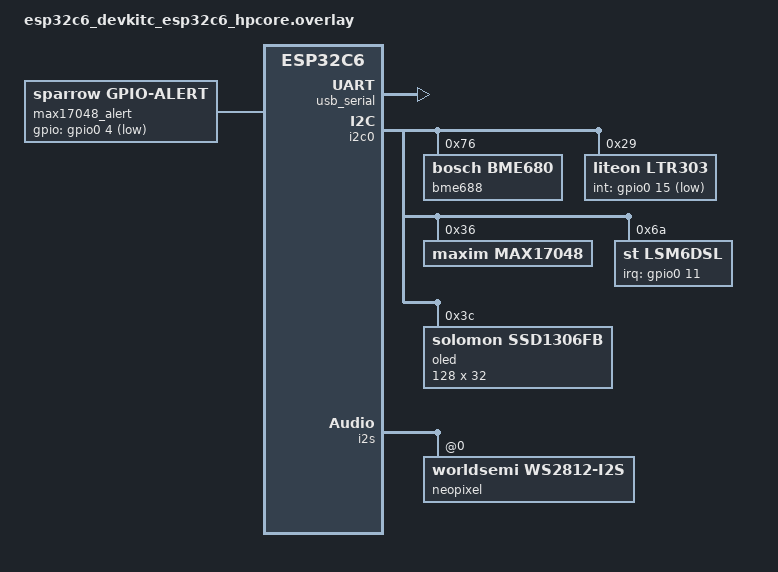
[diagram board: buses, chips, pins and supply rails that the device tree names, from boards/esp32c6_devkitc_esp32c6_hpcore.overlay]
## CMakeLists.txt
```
cmake_minimum_required(VERSION 3.20.0)

find_package(Zephyr REQUIRED HINTS $ENV{ZEPHYR_BASE})
project(sparrow_littlefs)

target_sources(app PRIVATE src/main.c src/cfb_font_0508.c src/startup.c src/oled.c src/fs_utils.c src/http_server.c src/net_time.c src/sensors.c src/neopixel.c src/boot.c src/i2c_scan.c)

file(GLOB_RECURSE WEB_ASSETS CONFIGURE_DEPENDS ${CMAKE_CURRENT_LIST_DIR}/web/*)
file(GLOB_RECURSE LFS_ROOT_ASSETS CONFIGURE_DEPENDS ${CMAKE_CURRENT_LIST_DIR}/lfs/*)

set(LFS_IMAGE ${CMAKE_BINARY_DIR}/littlefs.img)
add_custom_command(
  OUTPUT ${LFS_IMAGE}
  COMMAND ${PYTHON_EXECUTABLE} ${CMAKE_CURRENT_LIST_DIR}/scripts/make_littlefs_image.py
          --build-dir ${CMAKE_BINARY_DIR}
          --web-dir ${CMAKE_CURRENT_LIST_DIR}/web
          --output ${LFS_IMAGE}
  DEPENDS ${WEB_ASSETS} ${LFS_ROOT_ASSETS}
          ${CMAKE_CURRENT_LIST_DIR}/scripts/make_littlefs_image.py
  COMMENT "Building LittleFS image from web assets"
  VERBATIM
)
add_custom_target(littlefs_image DEPENDS ${LFS_IMAGE})

zephyr_linker_sources(SECTIONS sections-rom.ld)
```

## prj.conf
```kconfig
# Console / printk
CONFIG_CONSOLE=y
CONFIG_UART_CONSOLE=y
CONFIG_SERIAL=y
CONFIG_PRINTK=y

# Logging (optional, but useful)
CONFIG_LOG=y
CONFIG_LOG_DEFAULT_LEVEL=3

# Heap (Wi-Fi needs more headroom)
CONFIG_HEAP_MEM_POOL_SIZE=98304

# Hardware info (reset cause)
CONFIG_HWINFO=y

# Shell over UART
CONFIG_SHELL=y
CONFIG_SHELL_BACKEND_SERIAL=y
CONFIG_SHELL_BACKEND_SERIAL_API_POLLING=y
CONFIG_SHELL_BACKEND_SERIAL_INTERRUPT_DRIVEN=n
CONFIG_SHELL_AUTOSTART=y
CONFIG_SHELL_PROMPT_UART="sparrow$ "
CONFIG_SHELL_STACK_SIZE=5200
CONFIG_SHELL_CMD_BUFF_SIZE=256
CONFIG_SHELL_HISTORY=y
CONFIG_SHELL_HISTORY_BUFFER=512

# I2C
CONFIG_I2C=y
CONFIG_GPIO=y
CONFIG_I2S=y

# LED strip (NeoPixel)
CONFIG_LED_STRIP=y
CONFIG_WS2812_STRIP_I2S=y

# Display (SSD1306 OLED)
CONFIG_DISPLAY=y
CONFIG_CHARACTER_FRAMEBUFFER=y
CONFIG_CHARACTER_FRAMEBUFFER_USE_DEFAULT_FONTS=y
CONFIG_SSD1306=y

# Sensors
CONFIG_SENSOR=y
CONFIG_BME680=y
CONFIG_LSM6DSL=y
CONFIG_LSM6DSL_ENABLE_TEMP=y
CONFIG_LSM6DSL_ACCEL_FS=0
CONFIG_LSM6DSL_ACCEL_ODR=0
CONFIG_LSM6DSL_GYRO_FS=0
CONFIG_LSM6DSL_GYRO_ODR=0
CONFIG_FUEL_GAUGE=y
CONFIG_MAX17048=y

# File system (LittleFS on internal flash)
CONFIG_FLASH=y
CONFIG_FLASH_MAP=y
CONFIG_FLASH_PAGE_LAYOUT=y
CONFIG_FILE_SYSTEM=y
CONFIG_FILE_SYSTEM_LITTLEFS=y
CONFIG_FILE_SYSTEM_SHELL=y

# Networking / Wi-Fi shell
CONFIG_NETWORKING=y
CONFIG_NET_IPV4=y
CONFIG_NET_IPV6=n
CONFIG_NET_DHCPV4=y
CONFIG_NET_TCP=y
CONFIG_NET_UDP=y
CONFIG_NET_SHELL=y
CONFIG_WIFI=y
CONFIG_WIFI_ESP32=y
CONFIG_NET_L2_WIFI_SHELL=y
CONFIG_NET_MGMT_EVENT_QUEUE_TIMEOUT=5000
CONFIG_NET_MGMT_EVENT_QUEUE_SIZE=16
CONFIG_NET_SOCKETS=y
CONFIG_DNS_RESOLVER=y
CONFIG_DNS_RESOLVER_AUTO_INIT=y
CONFIG_DNS_SERVER_IP_ADDRESSES=y
CONFIG_DNS_SERVER1="8.8.8.8"
CONFIG_NET_DHCPV4_OPTION_DNS_ADDRESS=y
CONFIG_NET_DHCPV4_DNS_SERVER_VIA_INTERFACE=y
CONFIG_SNTP=y

# HTTP file server (LittleFS)
CONFIG_HTTP_SERVER=y
# HTTP server uses its own eventfd and polls multiple sockets.
CONFIG_ZVFS_EVENTFD_MAX=2
CONFIG_ZVFS_POLL_MAX=10
```

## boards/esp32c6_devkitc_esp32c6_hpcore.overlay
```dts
/* Remap I2C0 to Sparrow pins and add the BME688 (uses bme680 compatible) */

#include <zephyr/dt-bindings/pinctrl/esp-pinctrl-common.h>
#include <zephyr/dt-bindings/pinctrl/esp32c6-pinctrl.h>
#include <zephyr/dt-bindings/pinctrl/esp32c6-gpio-sigmap.h>
#include <zephyr/dt-bindings/gpio/gpio.h>
#include <zephyr/dt-bindings/led/led.h>

/ {
    chosen {
        zephyr,console = &usb_serial;
        zephyr,shell-uart = &usb_serial;
        zephyr,uart-mcumgr = &usb_serial;
		zephyr,led-strip = &neopixel;
		zephyr,display = &oled;
    };

	aliases {
		neopixel = &neopixel;
		fuel-gauge = &max17048;
		oled = &oled;
	};
};
 
&usb_serial {
    status = "okay";
};

&flash0 {
	reg = <0x0 0x400000>;
};

&pinctrl {
	i2c0_default: i2c0_default {
		group1 {
			pinmux = <I2C0_SDA_GPIO21>,
				 <I2C0_SCL_GPIO22>;
			bias-pull-up;
			drive-open-drain;
			output-high;
		};
	};
};

&i2c0 {
	status = "okay";
	pinctrl-0 = <&i2c0_default>;
	pinctrl-names = "default";

	bme688: bme680@76 {
		compatible = "bosch,bme680";
		reg = <0x76>;
	};

	ltr303: ltr303@29 {
		compatible = "liteon,ltr303";
		reg = <0x29>;
		int-gpios = <&gpio0 15 (GPIO_ACTIVE_LOW | GPIO_PULL_UP)>;
	};

	max17048: max17048@36 {
		compatible = "maxim,max17048";
		reg = <0x36>;
	};

	lsm6dsl: lsm6dsl@6a {
		compatible = "st,lsm6dsl";
		reg = <0x6a>;
		irq-gpios = <&gpio0 11 GPIO_ACTIVE_HIGH>;
	};

	oled: ssd1306@3c {
		compatible = "solomon,ssd1306fb";
		reg = <0x3c>;
		width = <128>;
		height = <32>;
		segment-offset = <0>;
		page-offset = <0>;
		display-offset = <0>;
		multiplex-ratio = <31>;
		segment-remap;
		com-invdir;
		com-sequential;
		prechargep = <0x22>;
	};
};

/ {
	max17048_alert: max17048_alert {
		compatible = "sparrow,gpio-alert";
		gpios = <&gpio0 4 (GPIO_ACTIVE_LOW | GPIO_PULL_UP)>;
	};
};

&i2s_default {
	group1 {
		pinmux = <I2S_O_SD_GPIO3>;
	};
};

&i2s {
	status = "okay";
	dmas = <&dma 3>;
	dma-names = "tx";

	neopixel: ws2812@0 {
		compatible = "worldsemi,ws2812-i2s";
		reg = <0>;
		chain-length = <1>;
		color-mapping = <LED_COLOR_ID_GREEN
				 LED_COLOR_ID_RED
				 LED_COLOR_ID_BLUE>;
		reset-delay = <500>;
	};
};

&dma {
	status = "okay";
};
```

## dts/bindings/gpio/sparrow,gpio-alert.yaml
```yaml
# Copyright (c) 2025
# SPDX-License-Identifier: Apache-2.0

description: GPIO alert pin used for external devices.

compatible: "sparrow,gpio-alert"

include: base.yaml

properties:
  gpios:
    type: phandle-array
    required: true
    description: Alert GPIO connected to an external device interrupt/alert pin.
```

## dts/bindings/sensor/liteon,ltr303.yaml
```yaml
# Copyright (c) 2025
# SPDX-License-Identifier: Apache-2.0

description: LiteOn LTR-303 Ambient Light Sensor

compatible: "liteon,ltr303"

include: [sensor-device.yaml, i2c-device.yaml]

properties:
  int-gpios:
    type: phandle-array
    description: Interrupt GPIO connected to the LTR303 INT pin.

  gain:
    type: int
    default: 0
    description: |
      ALS gain setting (register value). Common values:
      - 0 # 1x
      - 1 # 2x
      - 2 # 4x
      - 3 # 8x
      - 6 # 48x
      - 7 # 96x
    enum: [0, 1, 2, 3, 6, 7]

  integration-time:
    type: int
    default: 0
    description: |
      ALS integration time setting (register value).
      - 0 # 100ms
      - 1 # 50ms
      - 2 # 200ms
      - 3 # 400ms
      - 4 # 150ms
      - 5 # 250ms
      - 6 # 300ms
      - 7 # 350ms
    enum: [0, 1, 2, 3, 4, 5, 6, 7]

  measurement-rate:
    type: int
    default: 3
    description: |
      ALS measurement repeat rate setting (register value).
      - 0 # 50ms
      - 1 # 100ms
      - 2 # 200ms
      - 3 # 500ms
      - 4 # 1000ms
      - 5 # 2000ms
    enum: [0, 1, 2, 3, 4, 5]
```

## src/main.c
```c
#include <ctype.h>
#include <errno.h>
#include <stdbool.h>
#include <stdlib.h>
#include <string.h>
#include <zephyr/device.h>
#include <zephyr/devicetree.h>
#include <zephyr/drivers/gpio.h>
#include <zephyr/kernel.h>
#include <zephyr/shell/shell.h>
#include <zephyr/shell/shell_uart.h>
#include <zephyr/storage/flash_map.h>
#include <zephyr/sys/printk.h>
#include <zephyr/sys/util.h>

#include "app_paths.h"
#include "boot_log.h"
#include "fs_utils.h"
#include "net_time.h"
#include "sensors.h"
#include "startup.h"

int main(void)
{
	int rc;

	printk("Zephyr console ready (ESP32-C6 Sparrow).\n");
	time_init();
	rc = mount_littlefs();
	if (rc == 0) {
		boot_log_init();
		boot_log_write("boot: littlefs mounted at %s", LITTLEFS_MOUNT_POINT);
		boot_diag_start();
	} else {
		printk("Boot: LittleFS unavailable, skipping HTTP server\n");
	}
	net_set_default_wifi();
	net_ipv4_diag_init();
	net_log_diagnostics("boot");
	time_sync_start();
	sensors_init();
	startup_script_start();

	while (true) {
		k_sleep(K_SECONDS(1));
	}

	return 0;
}
```

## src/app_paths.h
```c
#pragma once

#define LITTLEFS_MOUNT_POINT "/lfs"
#define LITTLEFS_HTTP_ROOT LITTLEFS_MOUNT_POINT "/www"
#define LITTLEFS_HTTP_PORT 8080
#define LITTLEFS_HTTP_INDEX LITTLEFS_HTTP_ROOT "/index.html"

#define BME_LOG_DIR LITTLEFS_MOUNT_POINT "/logs"
#define BME_LOG_PATH_DEFAULT BME_LOG_DIR "/bme.log"
#define BME_LOG_PATH_MAX 128
#define LTR_LOG_DIR BME_LOG_DIR
#define LTR_LOG_PATH_DEFAULT LTR_LOG_DIR "/ltr.log"
#define LTR_LOG_PATH_MAX BME_LOG_PATH_MAX
#define MAX17048_LOG_DIR BME_LOG_DIR
#define MAX17048_LOG_PATH_DEFAULT MAX17048_LOG_DIR "/max17048.log"
#define MAX17048_LOG_PATH_MAX BME_LOG_PATH_MAX
#define LSM6DSL_LOG_DIR BME_LOG_DIR
#define LSM6DSL_LOG_PATH_DEFAULT LSM6DSL_LOG_DIR "/lsm6dsl.log"
#define LSM6DSL_LOG_PATH_MAX BME_LOG_PATH_MAX
```

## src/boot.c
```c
#include <inttypes.h>
#include <stdarg.h>
#include <stdbool.h>
#include <stdlib.h>
#include <string.h>
#include <zephyr/drivers/hwinfo.h>
#include <zephyr/fs/fs.h>
#include <zephyr/kernel.h>
#include <zephyr/sys/printk.h>
#include <zephyr/sys/util.h>

#include "app_paths.h"
#include "boot_log.h"
#include "fs_utils.h"
#include "net_time.h"

#define BOOT_LOG_PATH BME_LOG_DIR "/boot.log"
#define BOOT_COUNT_PATH BME_LOG_DIR "/boot.count"
#define BOOT_LOG_MSG_MAX 128
#define BOOT_LOG_LINE_MAX 192
#define BOOT_DIAG_THREAD_STACK_SIZE 2048
#define BOOT_DIAG_THREAD_PRIORITY 7
#define BOOT_DIAG_DELAY_MS 1500

static struct k_mutex boot_log_lock;
static bool boot_log_ready;
static uint32_t boot_count;
static struct k_thread boot_diag_thread;
static K_THREAD_STACK_DEFINE(boot_diag_stack, BOOT_DIAG_THREAD_STACK_SIZE);

void boot_log_write(const char *fmt, ...)
{
	struct fs_file_t file;
	char msg[BOOT_LOG_MSG_MAX];
	char line[BOOT_LOG_LINE_MAX];
	va_list args;
	int rc;
	size_t len;

	if (!boot_log_ready) {
		return;
	}

	va_start(args, fmt);
	vsnprintk(msg, sizeof(msg), fmt, args);
	va_end(args);

	rc = snprintk(line, sizeof(line), "%" PRId64 " %s\n",
		      time_now_ms(), msg);
	if (rc < 0) {
		return;
	}

	len = MIN((size_t)rc, sizeof(line) - 1U);

	k_mutex_lock(&boot_log_lock, K_FOREVER);
	fs_file_t_init(&file);
	rc = fs_open(&file, BOOT_LOG_PATH, FS_O_CREATE | FS_O_WRITE);
	if (rc == 0) {
		rc = fs_seek(&file, 0, FS_SEEK_END);
		if (rc == 0) {
			rc = fs_write(&file, line, len);
		}
		fs_close(&file);
	}
	k_mutex_unlock(&boot_log_lock);

	if (rc < 0) {
		printk("Boot log write failed (%d)\n", rc);
	}
}

static void reset_cause_format(uint32_t cause, char *buf, size_t len)
{
	struct reset_cause_name {
		uint32_t flag;
		const char *name;
	};
	static const struct reset_cause_name names[] = {
		{ RESET_PIN, "pin" },
		{ RESET_SOFTWARE, "software" },
		{ RESET_BROWNOUT, "brownout" },
		{ RESET_POR, "por" },
		{ RESET_WATCHDOG, "watchdog" },
		{ RESET_DEBUG, "debug" },
		{ RESET_SECURITY, "security" },
		{ RESET_LOW_POWER_WAKE, "low_power" },
		{ RESET_CPU_LOCKUP, "cpu_lockup" },
		{ RESET_PARITY, "parity" },
		{ RESET_PLL, "pll" },
		{ RESET_CLOCK, "clock" },
		{ RESET_HARDWARE, "hardware" },
		{ RESET_USER, "user" },
		{ RESET_TEMPERATURE, "temperature" },
		{ RESET_BOOTLOADER, "bootloader" },
		{ RESET_FLASH, "flash" },
	};
	size_t pos = 0;

	if (!buf || len == 0) {
		return;
	}

	buf[0] = '\0';
	if (cause == 0) {
		snprintk(buf, len, "unknown");
		return;
	}

	for (size_t i = 0; i < ARRAY_SIZE(names); i++) {
		if (!(cause & names[i].flag)) {
			continue;
		}

		int rc = snprintk(buf + pos, len - pos, pos ? "|%s" : "%s", names[i].name);

		if (rc < 0 || (size_t)rc >= (len - pos)) {
			buf[len - 1] = '\0';
			return;
		}
		pos += (size_t)rc;
	}

	if (pos == 0) {
		snprintk(buf, len, "unknown");
	}
}

static int boot_count_update(void)
{
	struct fs_file_t file;
	struct fs_dirent entry;
	char buf[16];
	ssize_t read_len;
	uint32_t count = 0;
	int rc;

	rc = fs_stat(BOOT_COUNT_PATH, &entry);
	if (rc == 0) {
		if (entry.type != FS_DIR_ENTRY_FILE) {
			return -EINVAL;
		}
		fs_file_t_init(&file);
		rc = fs_open(&file, BOOT_COUNT_PATH, FS_O_READ);
		if (rc < 0) {
			return rc;
		}
		read_len = fs_read(&file, buf, sizeof(buf) - 1);
		if (read_len > 0) {
			buf[read_len] = '\0';
			count = (uint32_t)strtoul(buf, NULL, 10);
		}
		fs_close(&file);
	} else if (rc != -ENOENT) {
		return rc;
	}

	count++;
	fs_file_t_init(&file);
	rc = fs_open(&file, BOOT_COUNT_PATH, FS_O_CREATE | FS_O_WRITE | FS_O_TRUNC);
	if (rc == 0) {
		int len = snprintk(buf, sizeof(buf), "%" PRIu32 "\n", count);

		if (len > 0) {
			ssize_t wr = fs_write(&file, buf, len);

			if (wr < 0) {
				rc = (int)wr;
			}
		} else {
			rc = -EIO;
		}
		fs_close(&file);
	}

	if (rc < 0) {
		return rc;
	}

	boot_count = count;
	return 0;
}

static void boot_log_reset_cause(void)
{
	uint32_t cause = 0;
	char desc[96];
	int rc;

	rc = hwinfo_get_reset_cause(&cause);
	if (rc < 0) {
		boot_log_write("boot: reset cause unavailable (%d)", rc);
		return;
	}

	reset_cause_format(cause, desc, sizeof(desc));
	boot_log_write("boot: reset cause 0x%08x (%s)", cause, desc);
}

static void boot_diag_thread_fn(void *p1, void *p2, void *p3)
{
	(void)p1;
	(void)p2;
	(void)p3;

	k_sleep(K_MSEC(BOOT_DIAG_DELAY_MS));

	if (!boot_log_ready) {
		return;
	}

	{
		int rc = boot_count_update();

		if (rc == 0) {
			boot_log_write("boot: count %" PRIu32, boot_count);
		} else {
			boot_log_write("boot: count unavailable (%d)", rc);
		}
	}

	boot_log_reset_cause();
}

void boot_log_init(void)
{
	int rc;

	k_mutex_init(&boot_log_lock);

	rc = ensure_littlefs_ready();
	if (rc < 0) {
		printk("Boot log: LittleFS not ready (%d)\n", rc);
		return;
	}

	rc = ensure_log_dir();
	if (rc < 0) {
		printk("Boot log: failed to create %s (%d)\n", BME_LOG_DIR, rc);
		return;
	}

	boot_log_ready = true;
	boot_log_write("boot: log started");
}

void boot_diag_start(void)
{
	if (!boot_log_ready) {
		return;
	}

	k_thread_create(&boot_diag_thread, boot_diag_stack,
			K_THREAD_STACK_SIZEOF(boot_diag_stack),
			boot_diag_thread_fn, NULL, NULL, NULL,
			BOOT_DIAG_THREAD_PRIORITY, 0, K_NO_WAIT);
	k_thread_name_set(&boot_diag_thread, "boot_diag");
}
```

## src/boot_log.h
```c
#pragma once

void boot_log_write(const char *fmt, ...);
void boot_log_init(void);
void boot_diag_start(void);
```

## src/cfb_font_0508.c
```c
#include <stdint.h>
#include <zephyr/display/cfb.h>

#define FONT_FIRST_CHAR 32
#define FONT_LAST_CHAR 90
#define FONT_GLYPH_COUNT (FONT_LAST_CHAR - FONT_FIRST_CHAR + 1)
#define FONT_IDX(c) ((c) - FONT_FIRST_CHAR)

static const uint8_t cfb_font_0508[FONT_GLYPH_COUNT][5] = {
	[FONT_IDX(' ')] = { 0x00, 0x00, 0x00, 0x00, 0x00 },
	[FONT_IDX('!')] = { 0x00, 0x00, 0x5F, 0x00, 0x00 },
	[FONT_IDX('.')] = { 0x00, 0x60, 0x60, 0x00, 0x00 },
	[FONT_IDX(':')] = { 0x00, 0x36, 0x36, 0x00, 0x00 },
	[FONT_IDX('-')] = { 0x08, 0x08, 0x08, 0x08, 0x08 },

	[FONT_IDX('0')] = { 0x3E, 0x51, 0x49, 0x45, 0x3E },
	[FONT_IDX('1')] = { 0x00, 0x42, 0x7F, 0x40, 0x00 },
	[FONT_IDX('2')] = { 0x42, 0x61, 0x51, 0x49, 0x46 },
	[FONT_IDX('3')] = { 0x21, 0x41, 0x45, 0x4B, 0x31 },
	[FONT_IDX('4')] = { 0x18, 0x14, 0x12, 0x7F, 0x10 },
	[FONT_IDX('5')] = { 0x27, 0x45, 0x45, 0x45, 0x39 },
	[FONT_IDX('6')] = { 0x3C, 0x4A, 0x49, 0x49, 0x30 },
	[FONT_IDX('7')] = { 0x01, 0x71, 0x09, 0x05, 0x03 },
	[FONT_IDX('8')] = { 0x36, 0x49, 0x49, 0x49, 0x36 },
	[FONT_IDX('9')] = { 0x06, 0x49, 0x49, 0x29, 0x1E },

	[FONT_IDX('A')] = { 0x7E, 0x11, 0x11, 0x11, 0x7E },
	[FONT_IDX('B')] = { 0x7F, 0x49, 0x49, 0x49, 0x36 },
	[FONT_IDX('C')] = { 0x3E, 0x41, 0x41, 0x41, 0x22 },
	[FONT_IDX('D')] = { 0x7F, 0x41, 0x41, 0x22, 0x1C },
	[FONT_IDX('E')] = { 0x7F, 0x49, 0x49, 0x49, 0x41 },
	[FONT_IDX('F')] = { 0x7F, 0x09, 0x09, 0x09, 0x01 },
	[FONT_IDX('G')] = { 0x3E, 0x41, 0x49, 0x49, 0x7A },
	[FONT_IDX('H')] = { 0x7F, 0x08, 0x08, 0x08, 0x7F },
	[FONT_IDX('I')] = { 0x00, 0x41, 0x7F, 0x41, 0x00 },
	[FONT_IDX('J')] = { 0x20, 0x40, 0x41, 0x3F, 0x01 },
	[FONT_IDX('K')] = { 0x7F, 0x08, 0x14, 0x22, 0x41 },
	[FONT_IDX('L')] = { 0x7F, 0x40, 0x40, 0x40, 0x40 },
	[FONT_IDX('M')] = { 0x7F, 0x02, 0x0C, 0x02, 0x7F },
	[FONT_IDX('N')] = { 0x7F, 0x04, 0x08, 0x10, 0x7F },
	[FONT_IDX('O')] = { 0x3E, 0x41, 0x41, 0x41, 0x3E },
	[FONT_IDX('P')] = { 0x7F, 0x09, 0x09, 0x09, 0x06 },
	[FONT_IDX('Q')] = { 0x3E, 0x41, 0x51, 0x21, 0x5E },
	[FONT_IDX('R')] = { 0x7F, 0x09, 0x19, 0x29, 0x46 },
	[FONT_IDX('S')] = { 0x46, 0x49, 0x49, 0x49, 0x31 },
	[FONT_IDX('T')] = { 0x01, 0x01, 0x7F, 0x01, 0x01 },
	[FONT_IDX('U')] = { 0x3F, 0x40, 0x40, 0x40, 0x3F },
	[FONT_IDX('V')] = { 0x1F, 0x20, 0x40, 0x20, 0x1F },
	[FONT_IDX('W')] = { 0x7F, 0x20, 0x18, 0x20, 0x7F },
	[FONT_IDX('X')] = { 0x63, 0x14, 0x08, 0x14, 0x63 },
	[FONT_IDX('Y')] = { 0x03, 0x04, 0x78, 0x04, 0x03 },
	[FONT_IDX('Z')] = { 0x61, 0x51, 0x49, 0x45, 0x43 },
};

FONT_ENTRY_DEFINE(font0508,
		  5,
		  8,
		  CFB_FONT_MONO_VPACKED,
		  cfb_font_0508,
		  FONT_FIRST_CHAR,
		  FONT_LAST_CHAR);
```

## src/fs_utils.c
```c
#include "fs_utils.h"

#include <errno.h>
#include <string.h>
#include <zephyr/fs/fs.h>
#include <zephyr/fs/littlefs.h>
#include <zephyr/storage/flash_map.h>
#include <zephyr/sys/printk.h>

#include "app_paths.h"

FS_LITTLEFS_DECLARE_DEFAULT_CONFIG(lfs_storage);

static struct fs_mount_t littlefs_mnt = {
	.type = FS_LITTLEFS,
	.fs_data = &lfs_storage,
	.storage_dev = (void *)FIXED_PARTITION_ID(storage_partition),
	.mnt_point = LITTLEFS_MOUNT_POINT,
};

int mount_littlefs(void)
{
	int rc = fs_mount(&littlefs_mnt);

	if (rc < 0) {
		printk("LittleFS mount failed (%d)\n", rc);
		return rc;
	}

	printk("LittleFS mounted at %s\n", littlefs_mnt.mnt_point);
	return 0;
}

int ensure_littlefs_ready(void)
{
	struct fs_dirent entry;
	int rc = fs_stat(LITTLEFS_MOUNT_POINT, &entry);

	if (rc < 0) {
		return rc;
	}

	if (entry.type != FS_DIR_ENTRY_DIR) {
		return -ENOTDIR;
	}

	return 0;
}

int ensure_log_dir(void)
{
	struct fs_dirent entry;
	int rc = fs_stat(BME_LOG_DIR, &entry);

	if (rc == 0) {
		if (entry.type != FS_DIR_ENTRY_DIR) {
			return -ENOTDIR;
		}
		return 0;
	}

	if (rc != -ENOENT) {
		return rc;
	}

	rc = fs_mkdir(BME_LOG_DIR);
	if (rc < 0 && rc != -EEXIST) {
		return rc;
	}

	return 0;
}

static int ensure_dir(const char *path)
{
	struct fs_dirent entry;
	int rc = fs_stat(path, &entry);

	if (rc == 0) {
		if (entry.type != FS_DIR_ENTRY_DIR) {
			return -ENOTDIR;
		}
		return 0;
	}

	if (rc != -ENOENT) {
		return rc;
	}

	rc = fs_mkdir(path);
	if (rc < 0 && rc != -EEXIST) {
		return rc;
	}

	return 0;
}

static int ensure_dir_tree(const char *dir)
{
	char tmp[BME_LOG_PATH_MAX];
	size_t len;

	if (!dir || dir[0] != '/') {
		return -EINVAL;
	}

	if (strlen(dir) >= sizeof(tmp)) {
		return -ENAMETOOLONG;
	}

	len = strlen(dir);
	memcpy(tmp, dir, len + 1);
	for (char *cur = tmp + 1; *cur != '\0'; cur++) {
		if (*cur == '/') {
			*cur = '\0';
			int rc = ensure_dir(tmp);
			if (rc < 0) {
				return rc;
			}
			*cur = '/';
		}
	}

	return ensure_dir(tmp);
}

int ensure_dir_tree_for_file(const char *path)
{
	char dir[BME_LOG_PATH_MAX];
	size_t len;
	char *slash;

	if (!path || path[0] != '/') {
		return -EINVAL;
	}

	if (strlen(path) >= sizeof(dir)) {
		return -ENAMETOOLONG;
	}

	len = strlen(path);
	memcpy(dir, path, len + 1);
	slash = strrchr(dir, '/');
	if (!slash || slash == dir) {
		return 0;
	}

	if (slash[1] == '\0') {
		return -EINVAL;
	}

	*slash = '\0';
	return ensure_dir_tree(dir);
}
```

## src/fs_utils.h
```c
#pragma once

int mount_littlefs(void);
int ensure_littlefs_ready(void);
int ensure_log_dir(void);
int ensure_dir_tree_for_file(const char *path);
```

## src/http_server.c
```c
#include "http_server.h"

#include <errno.h>
#include <string.h>
#include <zephyr/fs/fs.h>
#include <zephyr/net/http/server.h>
#include <zephyr/net/http/service.h>
#include <zephyr/shell/shell.h>
#include <zephyr/sys/atomic.h>

#include "app_paths.h"
#include "boot_log.h"
#include "sensors.h"

#define BME_LOG_HTTP_PATH "/bme_log"

static int ensure_http_dir(void)
{
	struct fs_dirent entry;
	int rc = fs_stat(LITTLEFS_HTTP_ROOT, &entry);

	if (rc == 0) {
		if (entry.type != FS_DIR_ENTRY_DIR) {
			return -ENOTDIR;
		}
		return 0;
	}

	if (rc != -ENOENT) {
		return rc;
	}

	rc = fs_mkdir(LITTLEFS_HTTP_ROOT);
	if (rc < 0 && rc != -EEXIST) {
		return rc;
	}

	return 0;
}

static void warn_if_http_index_missing(void)
{
	struct fs_dirent entry;
	int rc = fs_stat(LITTLEFS_HTTP_INDEX, &entry);

	if (rc == -ENOENT) {
		boot_log_write("http: index missing (%s)", LITTLEFS_HTTP_INDEX);
		return;
	}

	if (rc < 0) {
		boot_log_write("http: stat %s failed (%d)",
			       LITTLEFS_HTTP_INDEX, rc);
		return;
	}

	if (entry.type != FS_DIR_ENTRY_FILE) {
		boot_log_write("http: index not file (%s)", LITTLEFS_HTTP_INDEX);
	}
}

static struct http_resource_detail_static_fs littlefs_http_detail = {
	.common = {
		.type = HTTP_RESOURCE_TYPE_STATIC_FS,
		.bitmask_of_supported_http_methods = BIT(HTTP_GET),
	},
	.fs_path = LITTLEFS_HTTP_ROOT,
};

static uint16_t littlefs_http_port = LITTLEFS_HTTP_PORT;
static atomic_t http_server_running = ATOMIC_INIT(0);

HTTP_SERVICE_DEFINE(littlefs_http_service, NULL, &littlefs_http_port,
		    2, 10, NULL, &littlefs_http_detail.common, NULL);

struct bme_log_http_state {
	struct fs_file_t file;
	char path[BME_LOG_PATH_MAX];
	bool active;
	bool file_open;
};

static struct bme_log_http_state bme_log_http_state;
static uint8_t bme_log_http_buf[256];

static int bme_log_http_handler(struct http_client_ctx *client,
				enum http_data_status status,
				const struct http_request_ctx *request_ctx,
				struct http_response_ctx *response_ctx,
				void *user_data)
{
	struct bme_log_http_state *state = user_data;
	static const char not_found[] = "Log file not found.\n";
	static const char read_err[] = "Log file read error.\n";
	(void)client;
	(void)request_ctx;

	if (status == HTTP_SERVER_DATA_ABORTED) {
		if (state->file_open) {
			fs_close(&state->file);
		}
		memset(state, 0, sizeof(*state));
		return 0;
	}

	if (!state->active) {
		memset(state, 0, sizeof(*state));
		state->active = true;
		bme_log_get_path(state->path, sizeof(state->path));
		fs_file_t_init(&state->file);
		if (fs_open(&state->file, state->path, FS_O_READ) == 0) {
			state->file_open = true;
		}
	}

	if (!state->file_open) {
		response_ctx->status = 404;
		response_ctx->body = (const uint8_t *)not_found;
		response_ctx->body_len = sizeof(not_found) - 1;
		response_ctx->final_chunk = true;
		state->active = false;
		return 0;
	}

	ssize_t rc = fs_read(&state->file, bme_log_http_buf,
			     sizeof(bme_log_http_buf));
	if (rc < 0) {
		response_ctx->status = 500;
		response_ctx->body = (const uint8_t *)read_err;
		response_ctx->body_len = sizeof(read_err) - 1;
		response_ctx->final_chunk = true;
		fs_close(&state->file);
		state->file_open = false;
		state->active = false;
		return 0;
	}

	if (rc == 0) {
		fs_close(&state->file);
		state->file_open = false;
		response_ctx->final_chunk = true;
		state->active = false;
		return 0;
	}

	response_ctx->body = bme_log_http_buf;
	response_ctx->body_len = rc;
	response_ctx->final_chunk = false;
	return 0;
}

static struct http_resource_detail_dynamic bme_log_http_detail = {
	.common = {
		.type = HTTP_RESOURCE_TYPE_DYNAMIC,
		.bitmask_of_supported_http_methods = BIT(HTTP_GET),
		.content_type = "text/csv",
	},
	.cb = bme_log_http_handler,
	.user_data = &bme_log_http_state,
};

HTTP_RESOURCE_DEFINE(bme_log_http_resource, littlefs_http_service,
		     BME_LOG_HTTP_PATH, &bme_log_http_detail);

bool http_server_is_running(void)
{
	return atomic_get(&http_server_running) != 0;
}

int start_littlefs_http_server(void)
{
	int rc;

	rc = ensure_http_dir();
	if (rc < 0) {
		boot_log_write("http: prepare %s failed (%d)",
			       LITTLEFS_HTTP_ROOT, rc);
		return rc;
	}

	warn_if_http_index_missing();

	rc = http_server_start();
	if (rc == 0) {
		boot_log_write("http: server started port %u root %s",
			       littlefs_http_port, LITTLEFS_HTTP_ROOT);
		atomic_set(&http_server_running, 1);
		return 0;
	}

	if (rc == -EALREADY) {
		atomic_set(&http_server_running, 1);
		return rc;
	}

	boot_log_write("http: start failed (%d)", rc);
	return rc;
}

int stop_littlefs_http_server(void)
{
	int rc = http_server_stop();

	if (rc == 0) {
		boot_log_write("http: server stopped");
		atomic_set(&http_server_running, 0);
		return 0;
	}

	if (rc == -EALREADY) {
		atomic_set(&http_server_running, 0);
		return rc;
	}

	boot_log_write("http: stop failed (%d)", rc);
	return rc;
}

static void http_print_help(const struct shell *shell)
{
	shell_print(shell, "Usage:");
	shell_print(shell, "  http status");
	shell_print(shell, "  http start");
	shell_print(shell, "  http stop");
}

static int cmd_http(const struct shell *shell, size_t argc, char **argv)
{
	int rc;

	if (argc < 2) {
		http_print_help(shell);
		return -EINVAL;
	}

	if (strcmp(argv[1], "status") == 0) {
		shell_print(shell, "HTTP server: %s",
			    http_server_is_running() ? "on" : "off");
		shell_print(shell, "Port: %u", littlefs_http_port);
		shell_print(shell, "Root: %s", LITTLEFS_HTTP_ROOT);
		return 0;
	}

	if (strcmp(argv[1], "start") == 0) {
		rc = start_littlefs_http_server();
		if (rc == 0) {
			shell_print(shell, "HTTP server started (port %u).",
				    littlefs_http_port);
			return 0;
		}
		if (rc == -EALREADY) {
			shell_print(shell, "HTTP server already running.");
			return 0;
		}
		shell_error(shell, "HTTP server start failed (%d).", rc);
		return rc;
	}

	if (strcmp(argv[1], "stop") == 0) {
		rc = stop_littlefs_http_server();
		if (rc == 0) {
			shell_print(shell, "HTTP server stopped.");
			return 0;
		}
		if (rc == -EALREADY) {
			shell_print(shell, "HTTP server already stopped.");
			return 0;
		}
		shell_error(shell, "HTTP server stop failed (%d).", rc);
		return rc;
	}

	shell_error(shell, "Unknown command.");
	return -EINVAL;
}

SHELL_CMD_REGISTER(http, NULL, "HTTP server control.", cmd_http);
```

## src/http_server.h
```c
#pragma once

#include <stdbool.h>

bool http_server_is_running(void);
int start_littlefs_http_server(void);
int stop_littlefs_http_server(void);
```

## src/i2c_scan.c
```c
#include <stdint.h>
#include <zephyr/device.h>
#include <zephyr/devicetree.h>
#include <zephyr/drivers/i2c.h>
#include <zephyr/shell/shell.h>

#define I2C_NODE DT_NODELABEL(i2c0)

static int cmd_i2c_scan(const struct shell *shell, size_t argc, char **argv)
{
	const struct device *i2c = DEVICE_DT_GET(I2C_NODE);
	uint8_t count = 0;
	uint8_t first = 0x04;
	uint8_t last = 0x77;

	(void)argc;
	(void)argv;

	if (!device_is_ready(i2c)) {
		shell_error(shell, "I2C device not ready.");
		return -ENODEV;
	}

	shell_print(shell, "     0  1  2  3  4  5  6  7  8  9  a  b  c  d  e  f");
	for (uint8_t base = 0; base <= last; base += 16) {
		shell_fprintf_normal(shell, "%02x: ", base);
		for (uint8_t offset = 0; offset < 16; offset++) {
			uint8_t addr = base + offset;
			struct i2c_msg msg;
			uint8_t dummy;

			if (addr < first || addr > last) {
				shell_fprintf_normal(shell, "   ");
				continue;
			}

			msg.buf = &dummy;
			msg.len = 0U;
			msg.flags = I2C_MSG_WRITE | I2C_MSG_STOP;
			if (i2c_transfer(i2c, &msg, 1, addr) == 0) {
				shell_fprintf_normal(shell, "%02x ", addr);
				count++;
			} else {
				shell_fprintf_normal(shell, "-- ");
			}
		}
		shell_print(shell, "");
	}

	shell_print(shell, "%u devices found on %s", count, i2c->name);
	return 0;
}

SHELL_CMD_REGISTER(i2c_scan, NULL, "Scan the I2C bus (i2c0).", cmd_i2c_scan);
```

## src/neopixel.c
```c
#include <errno.h>
#include <stdint.h>
#include <stdlib.h>
#include <string.h>
#include <zephyr/device.h>
#include <zephyr/devicetree.h>
#include <zephyr/drivers/led_strip.h>
#include <zephyr/shell/shell.h>
#include <zephyr/sys/util.h>

#if DT_HAS_ALIAS(neopixel)
#define NEOPIXEL_NODE DT_ALIAS(neopixel)
#else
#define NEOPIXEL_NODE DT_INVALID_NODE
#endif

#if DT_NODE_HAS_STATUS(NEOPIXEL_NODE, okay)
#define NEOPIXEL_COUNT DT_PROP(NEOPIXEL_NODE, chain_length)

static const struct device *const neopixel_dev = DEVICE_DT_GET(NEOPIXEL_NODE);
static struct led_rgb neopixel_state[NEOPIXEL_COUNT];

static int neopixel_parse_u8(const char *arg, uint8_t *out)
{
	char *end = NULL;
	unsigned long val;

	if (!arg || !out) {
		return -EINVAL;
	}

	errno = 0;
	val = strtoul(arg, &end, 0);
	if (errno || end == arg || *end != '\0' || val > UINT8_MAX) {
		return -EINVAL;
	}

	*out = (uint8_t)val;
	return 0;
}

static int neopixel_parse_index(const char *arg, size_t *out)
{
	char *end = NULL;
	unsigned long val;

	if (!arg || !out) {
		return -EINVAL;
	}

	errno = 0;
	val = strtoul(arg, &end, 0);
	if (errno || end == arg || *end != '\0') {
		return -EINVAL;
	}

	if (val >= NEOPIXEL_COUNT) {
		return -ERANGE;
	}

	*out = (size_t)val;
	return 0;
}

static int neopixel_apply(const struct shell *shell)
{
	int rc = led_strip_update_rgb(neopixel_dev, neopixel_state, NEOPIXEL_COUNT);

	if (rc < 0) {
		shell_error(shell, "Neopixel update failed (%d).", rc);
	}

	return rc;
}

static int cmd_neopixel(const struct shell *shell, size_t argc, char **argv)
{
	uint8_t r;
	uint8_t g;
	uint8_t b;
	size_t idx = 0;
	int rc;

	if (!device_is_ready(neopixel_dev)) {
		shell_error(shell, "Neopixel device not ready.");
		return -ENODEV;
	}

	if (argc < 2) {
		shell_print(shell, "Usage:");
		shell_print(shell, "  neopixel status");
		shell_print(shell, "  neopixel set <r> <g> <b> [index]");
		shell_print(shell, "  neopixel fill <r> <g> <b>");
		shell_print(shell, "  neopixel off");
		return 0;
	}

	if (strcmp(argv[1], "status") == 0) {
		shell_print(shell, "Neopixel %s length %u.",
			    neopixel_dev->name, (unsigned int)NEOPIXEL_COUNT);
		shell_print(shell, "Pixel[0] r=%u g=%u b=%u.",
			    neopixel_state[0].r, neopixel_state[0].g,
			    neopixel_state[0].b);
		return 0;
	}

	if (strcmp(argv[1], "off") == 0) {
		memset(neopixel_state, 0, sizeof(neopixel_state));
		return neopixel_apply(shell);
	}

	if (strcmp(argv[1], "fill") == 0) {
		if (argc != 5) {
			shell_error(shell, "Usage: neopixel fill <r> <g> <b>");
			return -EINVAL;
		}

		rc = neopixel_parse_u8(argv[2], &r);
		rc |= neopixel_parse_u8(argv[3], &g);
		rc |= neopixel_parse_u8(argv[4], &b);
		if (rc < 0) {
			shell_error(shell, "Invalid color value.");
			return -EINVAL;
		}

		for (size_t i = 0; i < NEOPIXEL_COUNT; i++) {
			neopixel_state[i].r = r;
			neopixel_state[i].g = g;
			neopixel_state[i].b = b;
		}

		return neopixel_apply(shell);
	}

	if (strcmp(argv[1], "set") == 0) {
		if (argc != 5 && argc != 6) {
			shell_error(shell, "Usage: neopixel set <r> <g> <b> [index]");
			return -EINVAL;
		}

		rc = neopixel_parse_u8(argv[2], &r);
		rc |= neopixel_parse_u8(argv[3], &g);
		rc |= neopixel_parse_u8(argv[4], &b);
		if (rc < 0) {
			shell_error(shell, "Invalid color value.");
			return -EINVAL;
		}

		if (argc == 6) {
			rc = neopixel_parse_index(argv[5], &idx);
			if (rc == -ERANGE) {
				shell_error(shell, "Index out of range (0-%u).",
					    (unsigned int)(NEOPIXEL_COUNT - 1));
				return -ERANGE;
			}
			if (rc < 0) {
				shell_error(shell, "Invalid index.");
				return -EINVAL;
			}
		}

		neopixel_state[idx].r = r;
		neopixel_state[idx].g = g;
		neopixel_state[idx].b = b;
		return neopixel_apply(shell);
	}

	shell_error(shell, "Unknown command.");
	return -EINVAL;
}
#else
static int cmd_neopixel(const struct shell *shell, size_t argc, char **argv)
{
	(void)argc;
	(void)argv;

	shell_error(shell, "Neopixel not configured in devicetree.");
	return -ENODEV;
}
#endif

SHELL_CMD_REGISTER(neopixel, NULL, "Neopixel control (set/fill/off/status).", cmd_neopixel);
```

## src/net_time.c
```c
#include "net_time.h"

#include <errno.h>
#include <inttypes.h>
#include <stdarg.h>
#include <string.h>
#include <zephyr/kernel.h>
#include <zephyr/net/dhcpv4.h>
#include <zephyr/net/dns_resolve.h>
#include <zephyr/net/net_event.h>
#include <zephyr/net/net_if.h>
#include <zephyr/net/net_ip.h>
#include <zephyr/net/net_mgmt.h>
#include <zephyr/net/sntp.h>
#include <zephyr/shell/shell.h>
#include <zephyr/sys/atomic.h>
#include <zephyr/sys/printk.h>
#include <zephyr/sys/util.h>

#include "boot_log.h"

#define NET_DIAG_MSG_MAX 128
#define TIME_SYNC_THREAD_STACK_SIZE 2048
#define TIME_SYNC_THREAD_PRIORITY 7
#define TIME_SYNC_RETRY_S 10
#define TIME_SYNC_TIMEOUT_MS 4000
#define TIME_FALLBACK_EPOCH_SEC 449132400LL
#define TIME_SYNC_SERVER_PRIMARY "pool.ntp.org"
#define TIME_SYNC_SERVER_FALLBACK "129.6.15.28"

static struct k_thread time_sync_thread;
static K_THREAD_STACK_DEFINE(time_sync_stack, TIME_SYNC_THREAD_STACK_SIZE);
static struct k_mutex time_lock;
static int64_t time_offset_ms;
static bool time_synced;

static atomic_t ipv4_diag_logged = ATOMIC_INIT(0);
static struct net_mgmt_event_callback ipv4_event_cb;

static void time_set_offset_ms(int64_t offset_ms, bool synced)
{
	k_mutex_lock(&time_lock, K_FOREVER);
	time_offset_ms = offset_ms;
	time_synced = synced;
	k_mutex_unlock(&time_lock);
}

int64_t time_now_ms(void)
{
	int64_t offset;

	k_mutex_lock(&time_lock, K_FOREVER);
	offset = time_offset_ms;
	k_mutex_unlock(&time_lock);

	return (int64_t)k_uptime_get() + offset;
}

bool time_is_synced(void)
{
	bool synced;

	k_mutex_lock(&time_lock, K_FOREVER);
	synced = time_synced;
	k_mutex_unlock(&time_lock);

	return synced;
}

static void net_diag_log(const char *fmt, ...)
{
	char msg[NET_DIAG_MSG_MAX];
	va_list args;

	va_start(args, fmt);
	vsnprintk(msg, sizeof(msg), fmt, args);
	va_end(args);

	boot_log_write("%s", msg);
}

static void net_format_ll_addr(const struct net_linkaddr *ll, char *buf, size_t len)
{
	size_t pos = 0;

	if (!buf || len == 0) {
		return;
	}

	buf[0] = '\0';
	if (!ll || ll->len == 0) {
		return;
	}

	for (uint8_t i = 0; i < ll->len; i++) {
		int rc = snprintk(buf + pos, len - pos, i ? ":%02x" : "%02x", ll->addr[i]);

		if (rc < 0 || (size_t)rc >= (len - pos)) {
			buf[len - 1] = '\0';
			break;
		}
		pos += (size_t)rc;
	}
}

static void net_log_dns_servers(const char *tag)
{
#if defined(CONFIG_DNS_RESOLVER)
	struct dns_resolve_context *ctx = dns_resolve_get_default();
	const char *use_tag = tag ? tag : "boot";
	bool any = false;

	if (!ctx) {
		net_diag_log("net diag(%s): dns context unavailable", use_tag);
		return;
	}

	k_mutex_lock(&ctx->lock, K_FOREVER);
	for (size_t i = 0; i < ARRAY_SIZE(ctx->servers); i++) {
		const struct dns_server *srv = &ctx->servers[i];
		char addr[NET_INET6_ADDRSTRLEN];
		const char *addr_str = NULL;

		if (srv->dns_server.sa_family == 0) {
			continue;
		}

		if (srv->dns_server.sa_family == NET_AF_INET) {
			addr_str = net_addr_ntop(NET_AF_INET,
						 &net_sin(&srv->dns_server)->sin_addr,
						 addr, sizeof(addr));
		} else if (srv->dns_server.sa_family == NET_AF_INET6) {
			addr_str = net_addr_ntop(NET_AF_INET6,
						 &net_sin6(&srv->dns_server)->sin6_addr,
						 addr, sizeof(addr));
		}

		if (!addr_str) {
			addr_str = "unknown";
		}

		net_diag_log("net diag(%s): dns[%zu] %s source=%s if=%d mdns=%d llmnr=%d",
			     use_tag, i, addr_str, dns_get_source_str(srv->source),
			     srv->if_index, srv->is_mdns, srv->is_llmnr);
		any = true;
	}
	k_mutex_unlock(&ctx->lock);

	if (!any) {
		net_diag_log("net diag(%s): dns servers none", use_tag);
	}
#else
	ARG_UNUSED(tag);
#endif
}

struct net_if *time_get_wifi_iface(void)
{
	struct net_if *wifi = net_if_get_first_wifi();

	if (!wifi) {
		wifi = net_if_get_default();
	}

	return wifi;
}

static bool time_get_dhcp_ntp_server(char *buf, size_t len)
{
#if defined(CONFIG_NET_DHCPV4) && defined(CONFIG_NET_DHCPV4_OPTION_NTP_SERVER)
	struct net_if *iface = time_get_wifi_iface();
	const struct net_in_addr *ntp_addr;

	if (!iface) {
		return false;
	}

	ntp_addr = &iface->config.dhcpv4.ntp_addr;
	if (net_ipv4_is_addr_unspecified(ntp_addr)) {
		return false;
	}

	if (!net_addr_ntop(NET_AF_INET, ntp_addr, buf, len)) {
		return false;
	}

	return true;
#else
	ARG_UNUSED(buf);
	ARG_UNUSED(len);
	return false;
#endif
}

void net_log_diagnostics(const char *tag)
{
	struct net_if *iface = time_get_wifi_iface();
	const char *use_tag = tag ? tag : "boot";
	char ifname[NET_IFNAMSIZ] = "";
	const struct device *dev;
	const struct net_linkaddr *ll;
	char ll_buf[NET_LINK_ADDR_MAX_LENGTH * 3];
	bool up;
	int ifindex;

	if (!iface) {
		net_diag_log("net diag(%s): no network interface", use_tag);
		net_log_dns_servers(use_tag);
		return;
	}

	ifindex = net_if_get_by_iface(iface);
	dev = net_if_get_device(iface);
	up = net_if_is_up(iface);
	(void)net_if_get_name(iface, ifname, sizeof(ifname));
	ll = net_if_get_link_addr(iface);
	net_format_ll_addr(ll, ll_buf, sizeof(ll_buf));

	net_diag_log("net diag(%s): iface %d name=%s up=%d dev=%s ready=%d mac=%s",
		     use_tag, ifindex,
		     ifname[0] != '\0' ? ifname : "n/a",
		     up,
		     dev ? dev->name : "n/a",
		     dev ? device_is_ready(dev) : 0,
		     ll_buf[0] != '\0' ? ll_buf : "n/a");

	if (IS_ENABLED(CONFIG_NET_IPV4)) {
		struct net_in_addr *addr;
		char ip_buf[NET_IPV4_ADDR_LEN];
		char mask_buf[NET_IPV4_ADDR_LEN];
		char gw_buf[NET_IPV4_ADDR_LEN];

		addr = net_if_ipv4_get_global_addr(iface, NET_ADDR_PREFERRED);
		if (addr &&
		    net_addr_ntop(NET_AF_INET, addr, ip_buf, sizeof(ip_buf))) {
			struct net_in_addr mask = net_if_ipv4_get_netmask_by_addr(iface, addr);
			struct net_in_addr gw = net_if_ipv4_get_gw(iface);

			(void)net_addr_ntop(NET_AF_INET, &mask, mask_buf, sizeof(mask_buf));
			(void)net_addr_ntop(NET_AF_INET, &gw, gw_buf, sizeof(gw_buf));
			net_diag_log("net diag(%s): ipv4 addr=%s mask=%s gw=%s",
				     use_tag, ip_buf, mask_buf, gw_buf);
		} else {
			net_diag_log("net diag(%s): ipv4 addr=none", use_tag);
		}
	}

#if defined(CONFIG_NET_DHCPV4)
	net_diag_log("net diag(%s): dhcp state=%s lease=%u",
		     use_tag, net_dhcpv4_state_name(iface->config.dhcpv4.state),
		     iface->config.dhcpv4.lease_time);
#endif

	{
		char ntp_server[NET_IPV4_ADDR_LEN];

		if (time_get_dhcp_ntp_server(ntp_server, sizeof(ntp_server))) {
			net_diag_log("net diag(%s): dhcp ntp=%s", use_tag, ntp_server);
		} else {
			net_diag_log("net diag(%s): dhcp ntp=none", use_tag);
		}
	}

	net_log_dns_servers(use_tag);
}

static void net_ipv4_event_handler(struct net_mgmt_event_callback *cb, uint64_t mgmt_event,
				   struct net_if *iface)
{
	struct net_if *wifi = time_get_wifi_iface();

	ARG_UNUSED(cb);

	if (wifi && iface && iface != wifi) {
		return;
	}

	if (mgmt_event == NET_EVENT_IPV4_ADDR_ADD) {
		if (atomic_cas(&ipv4_diag_logged, 0, 1)) {
			net_log_diagnostics("ipv4");
		}
	} else if (mgmt_event == NET_EVENT_IPV4_ADDR_DEL) {
		atomic_set(&ipv4_diag_logged, 0);
	}
}

void net_ipv4_diag_init(void)
{
	net_mgmt_init_event_callback(&ipv4_event_cb, net_ipv4_event_handler,
				     NET_EVENT_IPV4_ADDR_ADD | NET_EVENT_IPV4_ADDR_DEL);
	net_mgmt_add_event_callback(&ipv4_event_cb);
}

void net_set_default_wifi(void)
{
	struct net_if *wifi = net_if_get_first_wifi();

	if (!wifi) {
		printk("Net: no Wi-Fi interface found\n");
		boot_log_write("net: no wifi iface found");
		return;
	}

	net_if_set_default(wifi);
	printk("Net: default interface set to Wi-Fi (idx %d)\n",
	       net_if_get_by_iface(wifi));
	boot_log_write("net: default iface wifi idx %d",
		       net_if_get_by_iface(wifi));
}

void time_init(void)
{
	int64_t offset_ms = (TIME_FALLBACK_EPOCH_SEC * 1000LL) - (int64_t)k_uptime_get();

	k_mutex_init(&time_lock);
	time_set_offset_ms(offset_ms, false);
}

static bool time_net_ready(void)
{
	struct net_if *iface = time_get_wifi_iface();

	if (!iface) {
		return false;
	}

	if (!net_if_is_up(iface)) {
		return false;
	}

	return net_if_ipv4_get_global_addr(iface, NET_ADDR_PREFERRED) != NULL;
}

static int time_sync_attempt(const char *server, struct sntp_time *ts, int *err_out)
{
	int rc;
	struct net_sockaddr_in addr;

	errno = 0;
	if (net_addr_pton(NET_AF_INET, server, &addr.sin_addr) == 0) {
		addr.sin_family = NET_AF_INET;
		addr.sin_port = 0;
		rc = sntp_simple_addr((struct net_sockaddr *)&addr,
				      sizeof(addr), TIME_SYNC_TIMEOUT_MS, ts);
	} else {
		rc = sntp_simple(server, TIME_SYNC_TIMEOUT_MS, ts);
	}
	if (rc < 0 && err_out) {
		*err_out = errno;
	}
	return rc;
}

static int time_sync_once(const char *dhcp_ntp, bool have_dhcp_ntp,
			  char *server_used, size_t server_used_len,
			  int *rc_primary, int *err_primary,
			  int *rc_dhcp, int *err_dhcp,
			  int *rc_fallback, int *err_fallback)
{
	struct sntp_time ts;
	int rc;
	int err;

	if (rc_primary) {
		*rc_primary = 0;
	}
	if (err_primary) {
		*err_primary = 0;
	}
	if (rc_dhcp) {
		*rc_dhcp = 0;
	}
	if (err_dhcp) {
		*err_dhcp = 0;
	}
	if (rc_fallback) {
		*rc_fallback = 0;
	}
	if (err_fallback) {
		*err_fallback = 0;
	}

	rc = time_sync_attempt(TIME_SYNC_SERVER_PRIMARY, &ts, &err);
	if (rc == 0) {
		if (server_used && server_used_len > 0) {
			snprintk(server_used, server_used_len, "%s", TIME_SYNC_SERVER_PRIMARY);
		}
		goto synced;
	}

	if (rc_primary) {
		*rc_primary = rc;
	}
	if (err_primary) {
		*err_primary = err;
	}

	if (have_dhcp_ntp) {
		rc = time_sync_attempt(dhcp_ntp, &ts, &err);
		if (rc == 0) {
			if (server_used && server_used_len > 0) {
				snprintk(server_used, server_used_len, "%s", dhcp_ntp);
			}
			goto synced;
		}
		if (rc_dhcp) {
			*rc_dhcp = rc;
		}
		if (err_dhcp) {
			*err_dhcp = err;
		}
	}

	rc = time_sync_attempt(TIME_SYNC_SERVER_FALLBACK, &ts, &err);
	if (rc < 0) {
		if (rc_fallback) {
			*rc_fallback = rc;
		}
		if (err_fallback) {
			*err_fallback = err;
		}
		return rc;
	}
	if (server_used && server_used_len > 0) {
		snprintk(server_used, server_used_len, "%s", TIME_SYNC_SERVER_FALLBACK);
	}

synced:
	{
		uint64_t frac_ms = ((uint64_t)ts.fraction * 1000U) >> 32;
		int64_t epoch_ms = (int64_t)(ts.seconds * 1000U + frac_ms);
		time_set_offset_ms(epoch_ms - (int64_t)k_uptime_get(), true);
	}
	return 0;
}

static void time_sync_thread_fn(void *p1, void *p2, void *p3)
{
	bool logged_wait = false;
	bool logged_net = false;
	bool logged_diag = false;
	int fail_count = 0;

	(void)p1;
	(void)p2;
	(void)p3;

	while (true) {
		int rc;
		int rc_primary = 0;
		int rc_fallback = 0;
		int rc_dhcp = 0;
		char server[NET_IPV4_ADDR_LEN] = "";
		char dhcp_ntp[NET_IPV4_ADDR_LEN] = "";
		bool have_dhcp_ntp;
		int err_primary = 0;
		int err_dhcp = 0;
		int err_fallback = 0;

		if (time_is_synced()) {
			k_sleep(K_MINUTES(10));
			continue;
		}

		if (!time_net_ready()) {
			if (!logged_net) {
				boot_log_write("time: waiting for IPv4 address");
				logged_net = true;
			}
			k_sleep(K_SECONDS(TIME_SYNC_RETRY_S));
			continue;
		}

		logged_net = false;
		if (!logged_diag) {
			if (atomic_cas(&ipv4_diag_logged, 0, 1)) {
				net_log_diagnostics("ipv4");
			}
			logged_diag = true;
		}
		have_dhcp_ntp = time_get_dhcp_ntp_server(dhcp_ntp, sizeof(dhcp_ntp));
		rc = time_sync_once(dhcp_ntp, have_dhcp_ntp,
				    server, sizeof(server),
				    &rc_primary, &err_primary,
				    &rc_dhcp, &err_dhcp,
				    &rc_fallback, &err_fallback);
		if (rc == 0) {
			const char *server_name = server[0] != '\0' ? server : "unknown";

			boot_log_write("time: synced via %s", server_name);
			logged_wait = false;
			fail_count = 0;
		} else {
			fail_count++;
			if (!logged_wait || (fail_count % 6) == 0) {
				if (have_dhcp_ntp) {
					boot_log_write("time: SNTP failed (%s rc=%d errno=%d, %s rc=%d errno=%d, %s rc=%d errno=%d)",
						       TIME_SYNC_SERVER_PRIMARY, rc_primary, err_primary,
						       dhcp_ntp, rc_dhcp, err_dhcp,
						       TIME_SYNC_SERVER_FALLBACK, rc_fallback, err_fallback);
				} else {
					boot_log_write("time: SNTP failed (%s rc=%d errno=%d, %s rc=%d errno=%d)",
						       TIME_SYNC_SERVER_PRIMARY, rc_primary, err_primary,
						       TIME_SYNC_SERVER_FALLBACK, rc_fallback, err_fallback);
				}
				logged_wait = true;
			}
		}

		k_sleep(K_SECONDS(TIME_SYNC_RETRY_S));
	}
}

void time_sync_start(void)
{
	k_thread_create(&time_sync_thread, time_sync_stack,
			K_THREAD_STACK_SIZEOF(time_sync_stack),
			time_sync_thread_fn, NULL, NULL, NULL,
			TIME_SYNC_THREAD_PRIORITY, 0, K_NO_WAIT);
	k_thread_name_set(&time_sync_thread, "time_sync");
	boot_log_write("boot: time sync thread started");
}

static int cmd_time(const struct shell *shell, size_t argc, char **argv)
{
	int64_t now_ms;

	(void)argc;
	(void)argv;

	now_ms = time_now_ms();
	shell_print(shell, "Epoch ms: %" PRId64, now_ms);
	shell_print(shell, "Epoch s: %" PRId64, now_ms / 1000);
	shell_print(shell, "Synced: %s", time_is_synced() ? "yes" : "no (fallback)");
	return 0;
}

SHELL_CMD_REGISTER(time, NULL, "Show current epoch time.", cmd_time);
```

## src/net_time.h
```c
#pragma once

#include <stdbool.h>
#include <stdint.h>
#include <zephyr/net/net_if.h>

void time_init(void);
void time_sync_start(void);
int64_t time_now_ms(void);
bool time_is_synced(void);
struct net_if *time_get_wifi_iface(void);

void net_set_default_wifi(void);
void net_ipv4_diag_init(void);
void net_log_diagnostics(const char *tag);
```
